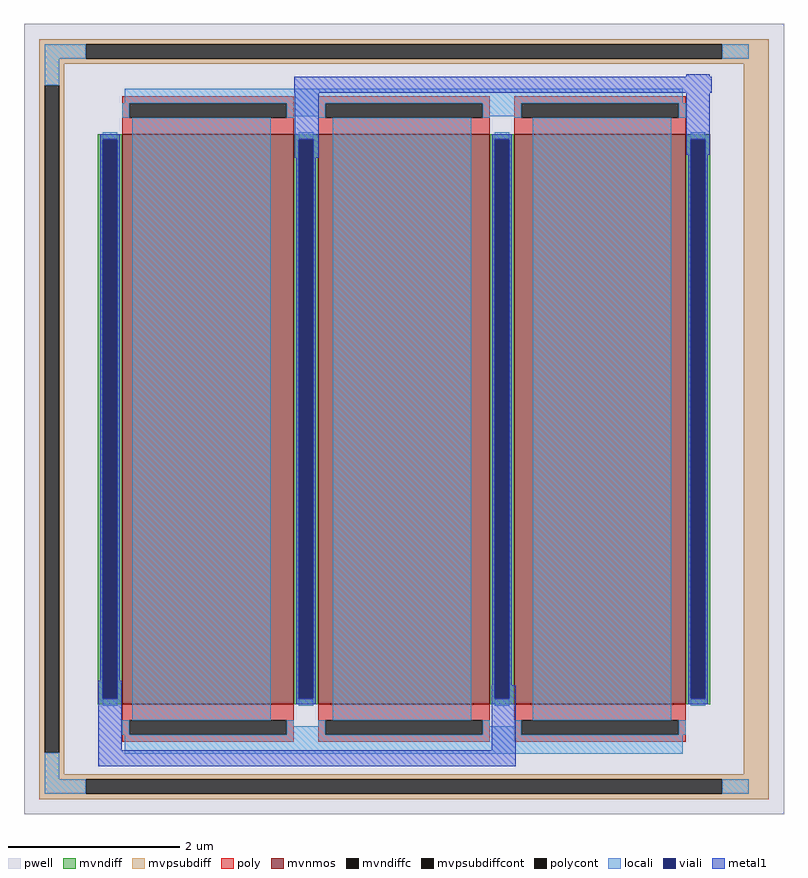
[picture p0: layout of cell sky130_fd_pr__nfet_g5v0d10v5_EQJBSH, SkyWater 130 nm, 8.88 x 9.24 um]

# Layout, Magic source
magic
tech sky130A
magscale 1 2
<< pwell >>
rect -888 -924 888 924
<< mvnmos >>
rect -658 -666 -258 666
rect -200 -666 200 666
rect 258 -666 658 666
<< mvndiff >>
rect -716 654 -658 666
rect -716 -654 -704 654
rect -670 -654 -658 654
rect -716 -666 -658 -654
rect -258 654 -200 666
rect -258 -654 -246 654
rect -212 -654 -200 654
rect -258 -666 -200 -654
rect 200 654 258 666
rect 200 -654 212 654
rect 246 -654 258 654
rect 200 -666 258 -654
rect 658 654 716 666
rect 658 -654 670 654
rect 704 -654 716 654
rect 658 -666 716 -654
<< mvndiffc >>
rect -704 -654 -670 654
rect -246 -654 -212 654
rect 212 -654 246 654
rect 670 -654 704 654
<< mvpsubdiff >>
rect -852 876 852 888
rect -852 842 -744 876
rect 744 842 852 876
rect -852 830 852 842
rect -852 780 -794 830
rect -852 -780 -840 780
rect -806 -780 -794 780
rect -852 -830 -794 -780
rect 794 -830 852 830
rect -852 -842 852 -830
rect -852 -876 -744 -842
rect 744 -876 852 -842
rect -852 -888 852 -876
<< mvpsubdiffcont >>
rect -744 842 744 876
rect -840 -780 -806 780
rect -744 -876 744 -842
<< poly >>
rect -658 738 -258 754
rect -658 704 -642 738
rect -274 704 -258 738
rect -658 666 -258 704
rect -200 738 200 754
rect -200 704 -184 738
rect 184 704 200 738
rect -200 666 200 704
rect 258 738 658 754
rect 258 704 274 738
rect 642 704 658 738
rect 258 666 658 704
rect -658 -704 -258 -666
rect -658 -738 -642 -704
rect -274 -738 -258 -704
rect -658 -754 -258 -738
rect -200 -704 200 -666
rect -200 -738 -184 -704
rect 184 -738 200 -704
rect -200 -754 200 -738
rect 258 -704 658 -666
rect 258 -738 274 -704
rect 642 -738 658 -704
rect 258 -754 658 -738
<< polycont >>
rect -642 704 -274 738
rect -184 704 184 738
rect 274 704 642 738
rect -642 -738 -274 -704
rect -184 -738 184 -704
rect 274 -738 642 -704
<< locali >>
rect -840 842 -744 876
rect 744 842 806 876
rect -840 780 -806 842
rect -653 738 651 772
rect -658 704 -642 738
rect -274 708 -184 738
rect -274 704 -258 708
rect -200 704 -184 708
rect 184 708 274 738
rect 184 704 200 708
rect 258 704 274 708
rect 642 704 658 738
rect -704 654 -670 670
rect -704 -670 -670 -654
rect -635 -704 -311 704
rect -246 654 -212 670
rect -246 -670 -212 -654
rect -167 -704 157 704
rect 212 654 246 670
rect 212 -670 246 -654
rect 301 -704 625 704
rect 670 654 704 670
rect 670 -670 704 -654
rect -658 -738 -642 -704
rect -274 -718 -258 -704
rect -200 -718 -184 -704
rect -274 -738 -184 -718
rect 184 -718 200 -704
rect 258 -718 274 -704
rect 184 -738 274 -718
rect 642 -738 658 -704
rect -840 -842 -806 -780
rect -653 -782 651 -738
rect -840 -876 -744 -842
rect 744 -876 806 -842
<< viali >>
rect -704 -654 -670 654
rect -246 -654 -212 654
rect 212 -654 246 654
rect 670 -654 704 654
<< metal1 >>
rect 659 800 715 806
rect -257 762 719 800
rect -710 654 -664 666
rect -710 -612 -704 654
rect -715 -654 -704 -612
rect -670 -612 -664 654
rect -255 654 -199 762
rect -255 610 -246 654
rect -670 -654 -659 -612
rect -715 -774 -659 -654
rect -252 -654 -246 610
rect -212 610 -199 654
rect 206 654 252 666
rect -212 -654 -206 610
rect 206 -622 212 654
rect -252 -666 -206 -654
rect 205 -654 212 -622
rect 246 -622 252 654
rect 659 654 715 762
rect 659 618 670 654
rect 246 -654 261 -622
rect 205 -774 261 -654
rect 664 -654 670 618
rect 704 618 715 654
rect 704 -654 710 618
rect 664 -666 710 -654
rect -715 -812 261 -774
<< properties >>
string FIXED_BBOX -823 -859 823 859
string gencell sky130_fd_pr__nfet_g5v0d10v5
string library sky130
string parameters w 6.66 l 2 m 1 nf 3 diffcov 100 polycov 100 guard 1 glc 1 grc 1 gtc 1 gbc 1 tbcov 100 rlcov 100 topc 1 botc 1 poverlap 0 doverlap 1 lmin 0.50 wmin 0.42 class mosfet compatible {sky130_fd_pr__nfet_01v8 sky130_fd_pr__nfet_01v8_lvt  sky130_fd_bs_flash__special_sonosfet_star  sky130_fd_pr__nfet_g5v0d10v5 sky130_fd_pr__nfet_05v0_nvt  sky130_fd_pr__nfet_03v3_nvt} full_metal 1 conn_gates 0 viasrc 100 viadrn 100 viagate 100 viagb 0 viagr 0 viagl 0 viagt 0 doports 1
<< end >>
